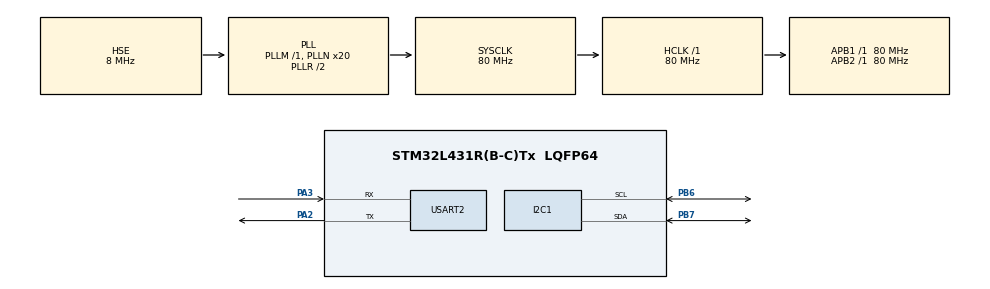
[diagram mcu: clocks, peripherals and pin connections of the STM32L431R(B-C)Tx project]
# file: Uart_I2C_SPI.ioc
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I2C1.Timing=0x10909CEC
Mcu.Family=STM32L4
Mcu.Name=STM32L431R(B-C)Tx
Mcu.Package=LQFP64
NVIC.PriorityGroup=NVIC_PRIORITYGROUP_4
PA2.Mode=Asynchronous
PA2.Signal=USART2_TX
PA3.Mode=Asynchronous
PA3.Signal=USART2_RX
PB6.GPIO_Pu=GPIO_PULLUP
PB6.Mode=I2C
PB6.Signal=I2C1_SCL
PB7.GPIO_Pu=GPIO_PULLUP
PB7.Mode=I2C
PB7.Signal=I2C1_SDA
PC14-OSC32_IN\ (PC14).Mode=LSE-External-Oscillator
PC14-OSC32_IN\ (PC14).Signal=RCC_OSC32_IN
PC15-OSC32_OUT\ (PC15).Mode=LSE-External-Oscillator
PC15-OSC32_OUT\ (PC15).Signal=RCC_OSC32_OUT
PH0-OSC_IN\ (PH0).Mode=HSE-External-Oscillator
PH0-OSC_IN\ (PH0).Signal=RCC_OSC_IN
PH1-OSC_OUT\ (PH1).Mode=HSE-External-Oscillator
PH1-OSC_OUT\ (PH1).Signal=RCC_OSC_OUT
ProjectManager.HeapSize=0x200
ProjectManager.StackSize=0x400
ProjectManager.TargetToolchain=MDK-ARM V5.32
RCC.ADCFreq_Value=32000000
RCC.AHBFreq_Value=80000000
RCC.APB1Freq_Value=80000000
RCC.APB1TimFreq_Value=80000000
RCC.APB2Freq_Value=80000000
RCC.APB2TimFreq_Value=80000000
RCC.CortexFreq_Value=80000000
RCC.HCLKFreq_Value=80000000
RCC.HSE_VALUE=8000000
RCC.HSI48_VALUE=48000000
RCC.HSI_VALUE=16000000
RCC.MSI_VALUE=4000000
RCC.PLLN=20
RCC.PLLSourceVirtual=RCC_PLLSOURCE_HSE
RCC.SYSCLKFreq_VALUE=80000000
RCC.SYSCLKSource=RCC_SYSCLKSOURCE_PLLCLK
RCC.VCOOutputFreq_Value=160000000
USART2.VirtualMode-Asynchronous=VM_ASYNC
board=custom

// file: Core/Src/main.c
/* USER CODE BEGIN Header */
/**
  ******************************************************************************
  * @file           : main.c
  * @brief          : Main program body
  ******************************************************************************
  * @attention
  *
  * <h2><center>&copy; Copyright (c) 2021 STMicroelectronics.
  * All rights reserved.</center></h2>
  *
  * This software component is licensed by ST under BSD 3-Clause license,
  * the "License"; You may not use this file except in compliance with the
  * License. You may obtain a copy of the License at:
  *                        opensource.org/licenses/BSD-3-Clause
  *
  ******************************************************************************
  */
/* USER CODE END Header */
#include "main.h"
#include "i2c.h"
#include "usart.h"
#include "gpio.h"

/* USER CODE BEGIN Includes */
#include "at24c02_i2c_drv.h"
#include <stdio.h>
/* USER CODE END Includes */

/* USER CODE BEGIN PV */
uint8_t hello[] = "USAET2 is ready...\n";
uint8_t recv_buf[13] = {0};
/* USER CODE END PV */

void SystemClock_Config(void);
/* USER CODE BEGIN PFP */
uint8_t SOFT_SPI_RW_MODE0( uint8_t write_dat );
void SPI_Init(void);
/* USER CODE END PFP */

/* USER CODE BEGIN 0 */
#define SPI_SCK_PIN                     GPIO_PIN_1
#define SPI_SCK_GPIO_PORT               GPIOA
#define SPI_MOSI_PIN                    GPIO_PIN_12
#define SPI_MOSI_GPIO_PORT              GPIOA
#define SPI_MISO_PIN                    GPIO_PIN_6
#define SPI_MISO_GPIO_PORT              GPIOA
#define SPI_NSS_PIN                     GPIO_PIN_4
#define SPI_NSS_GPIO_PORT               GPIOA

#define SPI_SCK_GPIO_CLK_ENABLE()       __HAL_RCC_GPIOA_CLK_ENABLE()
#define SPI_MISO_GPIO_CLK_ENABLE()      __HAL_RCC_GPIOA_CLK_ENABLE()
#define SPI_MOSI_GPIO_CLK_ENABLE()      __HAL_RCC_GPIOA_CLK_ENABLE()
#define SPI_NSS_GPIO_CLK_ENABLE()       __HAL_RCC_GPIOA_CLK_ENABLE()

#define MOSI_H  HAL_GPIO_WritePin(SPI_MOSI_GPIO_PORT, SPI_MOSI_PIN, GPIO_PIN_SET)
#define MOSI_L  HAL_GPIO_WritePin(SPI_MOSI_GPIO_PORT, SPI_MOSI_PIN, GPIO_PIN_RESET)
#define SCK_H   HAL_GPIO_WritePin(SPI_SCK_GPIO_PORT, SPI_SCK_PIN, GPIO_PIN_SET)
#define SCK_L   HAL_GPIO_WritePin(SPI_SCK_GPIO_PORT, SPI_SCK_PIN, GPIO_PIN_RESET)
#define MISO    HAL_GPIO_ReadPin(SPI_MISO_GPIO_PORT, SPI_MISO_PIN)
#define NSS_H   HAL_GPIO_WritePin(SPI_NSS_GPIO_PORT, SPI_NSS_PIN, GPIO_PIN_SET)
#define NSS_L   HAL_GPIO_WritePin(SPI_NSS_GPIO_PORT, SPI_NSS_PIN, GPIO_PIN_RESET)

#define CPU_FREQUENCY_MHZ    80		// STM32时钟主频
/* USER CODE END 0 */

int main(void)
{
  /* USER CODE BEGIN 1 */
	uint8_t write_dat = 0xa5;
	uint8_t recv_buf = 0;
	uint8_t recvspi_buf = 0;
  /* USER CODE END 1 */

  /* MCU Configuration--------------------------------------------------------*/

  /* Reset of all peripherals, Initializes the Flash interface and the Systick. */
  HAL_Init();

  /* USER CODE BEGIN Init */
	SPI_Init();
  /* USER CODE END Init */

  /* Configure the system clock */
  SystemClock_Config();

  /* Initialize all configured peripherals */
  MX_GPIO_Init();
  MX_I2C1_Init();
  MX_USART2_UART_Init();
  /* USER CODE BEGIN 2 */
	//使能串口中断接收
  HAL_UART_Receive_IT(&huart2, (uint8_t*)recv_buf, 13);
  //发送提示信息
//  HAL_UART_Transmit_IT(&huart2, (uint8_t*)hello, sizeof(hello));
  printf("0xa5\r\n");

  if(HAL_OK == At24c02_Write_Byte(10,&write_dat))
	{
		printf("Write ok\r\n");
	}
	else
	{
		printf("Write fail\r\n");
	}

	HAL_Delay(50);		//写一次和读一次之间需要短暂的延时

	if(HAL_OK == At24c02_Read_Byte(10,&recv_buf))
	{
		printf("Read ok, recv_buf = 0x%02X\r\n", recv_buf);
	}
	else
	{
		printf("Read fail\r\n");
	}

  // HAL_SPI_Transmit(&hspi1, &write_dat, 1, 1000);
  recvspi_buf = SOFT_SPI_RW_MODE0(write_dat);
	printf("recvspi_buf = %d \r\n", recvspi_buf);
  /* USER CODE END 2 */

  /* Infinite loop */
  while (1)
  {

  }
}

void SystemClock_Config(void)
{
  RCC_OscInitTypeDef RCC_OscInitStruct = {0};
  RCC_ClkInitTypeDef RCC_ClkInitStruct = {0};
	RCC_PeriphCLKInitTypeDef PeriphClkInit = {0};

  /** Configure the main internal regulator output voltage
  */
  if (HAL_PWREx_ControlVoltageScaling(PWR_REGULATOR_VOLTAGE_SCALE1) != HAL_OK)
  {
    Error_Handler();
  }
  /** Initializes the RCC Oscillators according to the specified parameters
  * in the RCC_OscInitTypeDef structure.
  */
  RCC_OscInitStruct.OscillatorType = RCC_OSCILLATORTYPE_HSE;
  RCC_OscInitStruct.HSEState = RCC_HSE_ON;
  RCC_OscInitStruct.PLL.PLLState = RCC_PLL_ON;
  RCC_OscInitStruct.PLL.PLLSource = RCC_PLLSOURCE_HSE;
  RCC_OscInitStruct.PLL.PLLM = 1;
  RCC_OscInitStruct.PLL.PLLN = 20;
  RCC_OscInitStruct.PLL.PLLP = RCC_PLLP_DIV7;
  RCC_OscInitStruct.PLL.PLLQ = RCC_PLLQ_DIV2;
  RCC_OscInitStruct.PLL.PLLR = RCC_PLLR_DIV2;
  if (HAL_RCC_OscConfig(&RCC_OscInitStruct) != HAL_OK)
  {
    Error_Handler();
  }
  /** Initializes the CPU, AHB and APB buses clocks
  */
  RCC_ClkInitStruct.ClockType = RCC_CLOCKTYPE_HCLK|RCC_CLOCKTYPE_SYSCLK
                              |RCC_CLOCKTYPE_PCLK1|RCC_CLOCKTYPE_PCLK2;
  RCC_ClkInitStruct.SYSCLKSource = RCC_SYSCLKSOURCE_PLLCLK;
  RCC_ClkInitStruct.AHBCLKDivider = RCC_SYSCLK_DIV1;
  RCC_ClkInitStruct.APB1CLKDivider = RCC_HCLK_DIV1;
  RCC_ClkInitStruct.APB2CLKDivider = RCC_HCLK_DIV1;

  if (HAL_RCC_ClockConfig(&RCC_ClkInitStruct, FLASH_LATENCY_4) != HAL_OK)
  {
    Error_Handler();
  }
	PeriphClkInit.PeriphClockSelection = RCC_PERIPHCLK_USART2|RCC_PERIPHCLK_I2C1;
  PeriphClkInit.Usart2ClockSelection = RCC_USART2CLKSOURCE_PCLK1;
  PeriphClkInit.I2c1ClockSelection = RCC_I2C1CLKSOURCE_PCLK1;
  if (HAL_RCCEx_PeriphCLKConfig(&PeriphClkInit) != HAL_OK)
  {
    Error_Handler();
  }
	  if (HAL_PWREx_ControlVoltageScaling(PWR_REGULATOR_VOLTAGE_SCALE1) != HAL_OK)
  {
    Error_Handler();
  }
}

/* USER CODE BEGIN 4 */
/* 中断回调函数 */
void HAL_UART_RxCpltCallback(UART_HandleTypeDef *huart)
{
	/* 判断是哪个串口触发的中断 */
	if(huart ->Instance == USART2)
	{
		//将接收到的数据发送
		HAL_UART_Transmit_IT(huart, (uint8_t*)recv_buf, 13);
		//重新使能串口接收中断
		HAL_UART_Receive_IT(huart, (uint8_t*)recv_buf, 13);
	}
}

#if 1

int fputc(int ch, FILE *stream)
{
    /* 堵塞判断串口是否发送完成 */
    while((USART2->ISR & 0X40) == 0);

    /* 串口发送完成，将该字符发送 */
    USART2->TDR = (uint8_t) ch;

    return ch;
}
#endif

void delay_us(__IO uint32_t delay)
{
    int last, curr, val;
    int temp;

    while (delay != 0)
    {
        temp = delay > 900 ? 900 : delay;
        last = SysTick->VAL;
        curr = last - CPU_FREQUENCY_MHZ * temp;
        if (curr >= 0)
        {
            do
            {
                val = SysTick->VAL;
            }
            while ((val < last) && (val >= curr));
        }
        else
        {
            curr += CPU_FREQUENCY_MHZ * 1000;
            do
            {
                val = SysTick->VAL;
            }
            while ((val <= last) || (val > curr));
        }
        delay -= temp;
    }
}

/* CPOL = 0, CPHA = 0, MSB first */
uint8_t SOFT_SPI_RW_MODE0( uint8_t write_dat )
{
    uint8_t i, read_dat;
    for( i = 0; i < 8; i++ )
    {
        if( write_dat & 0x80 ) {
            MOSI_H;
        } else {
            MOSI_L;
				}
        write_dat <<= 1;
        delay_us(1);
        SCK_H;
        read_dat <<= 1;
        if( MISO ) {
            read_dat++;
				}
				delay_us(1);
        SCK_L;
        __nop();
        // printf("Hello World!\r\n");
    }
    // printf("Hello World!\r\n");

		return read_dat;
}

void SPI_Init(void)
{
  /*##-1- Enable peripherals and GPIO Clocks #########################*/
  /* Enable GPIO TX/RX clock */
  SPI_SCK_GPIO_CLK_ENABLE();
  SPI_MISO_GPIO_CLK_ENABLE();
  SPI_MOSI_GPIO_CLK_ENABLE();
  SPI_NSS_GPIO_CLK_ENABLE();

  /*##-2- Configure peripheral GPIO #######################*/
  /* SPI SCK GPIO pin configuration  */
  GPIO_InitTypeDef GPIO_InitStruct;

  GPIO_InitStruct.Pin       = SPI_SCK_PIN;
  GPIO_InitStruct.Mode      = GPIO_MODE_OUTPUT_PP;
  //GPIO_InitStruct.Pull      = GPIO_PULLDOWN;
  GPIO_InitStruct.Speed     = GPIO_SPEED_FREQ_VERY_HIGH;
  HAL_GPIO_Init(SPI_SCK_GPIO_PORT, &GPIO_InitStruct);
  HAL_GPIO_WritePin(SPI_SCK_GPIO_PORT, SPI_SCK_PIN, GPIO_PIN_SET);

  /* SPI MISO GPIO pin configuration  */
  GPIO_InitStruct.Pin = SPI_MISO_PIN;
  GPIO_InitStruct.Mode = GPIO_MODE_INPUT;
  HAL_GPIO_Init(SPI_MISO_GPIO_PORT, &GPIO_InitStruct);

  /* SPI MOSI GPIO pin configuration  */
  GPIO_InitStruct.Pin = SPI_MOSI_PIN;
  GPIO_InitStruct.Mode = GPIO_MODE_OUTPUT_PP;
  HAL_GPIO_Init(SPI_MOSI_GPIO_PORT, &GPIO_InitStruct);
  HAL_GPIO_WritePin(SPI_MOSI_GPIO_PORT, SPI_MOSI_PIN, GPIO_PIN_SET);

  GPIO_InitStruct.Pin = SPI_NSS_PIN;
  GPIO_InitStruct.Mode = GPIO_MODE_OUTPUT_PP;
  HAL_GPIO_Init(SPI_NSS_GPIO_PORT, &GPIO_InitStruct);
  HAL_GPIO_WritePin(SPI_NSS_GPIO_PORT, SPI_NSS_PIN, GPIO_PIN_SET);

}
/* USER CODE END 4 */

void Error_Handler(void)
{
  __disable_irq();
  while (1)
  {
  }
}

/************************ (C) COPYRIGHT STMicroelectronics *****END OF FILE****/
